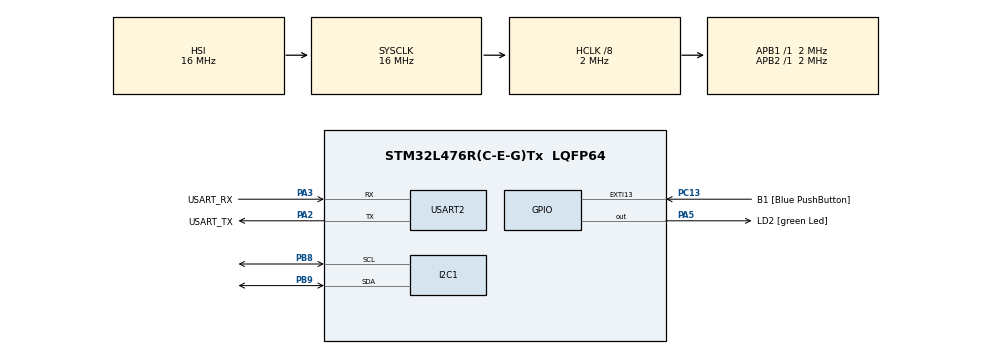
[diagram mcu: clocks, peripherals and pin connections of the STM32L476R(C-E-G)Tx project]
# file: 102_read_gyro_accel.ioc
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I2C1.Timing=0x00000508
Mcu.Family=STM32L4
Mcu.Name=STM32L476R(C-E-G)Tx
Mcu.Package=LQFP64
NVIC.I2C1_ER_IRQn=true\:0\:0\:false\:true\:true\:4\:true\:true\:true
NVIC.I2C1_EV_IRQn=true\:0\:0\:false\:true\:true\:5\:true\:true\:true
NVIC.PriorityGroup=NVIC_PRIORITYGROUP_4
NVIC.TIM6_DAC_IRQn=true\:0\:0\:false\:true\:true\:2\:true\:true\:true
NVIC.TIM7_IRQn=true\:0\:0\:false\:true\:true\:1\:true\:true\:true
NVIC.USART2_IRQn=true\:0\:0\:false\:true\:true\:3\:true\:true\:true
PA13\ (JTMS-SWDIO).GPIO_Label=TMS
PA13\ (JTMS-SWDIO).Mode=Serial_Wire
PA13\ (JTMS-SWDIO).Signal=SYS_JTMS-SWDIO
PA14\ (JTCK-SWCLK).GPIO_Label=TCK
PA14\ (JTCK-SWCLK).Mode=Serial_Wire
PA14\ (JTCK-SWCLK).Signal=SYS_JTCK-SWCLK
PA2.GPIO_Label=USART_TX
PA2.GPIO_Mode=GPIO_MODE_AF_PP
PA2.GPIO_PuPd=GPIO_NOPULL
PA2.GPIO_Speed=GPIO_SPEED_FREQ_VERY_HIGH
PA2.Mode=Asynchronous
PA2.Signal=USART2_TX
PA3.GPIO_Label=USART_RX
PA3.GPIO_Mode=GPIO_MODE_AF_PP
PA3.GPIO_PuPd=GPIO_NOPULL
PA3.GPIO_Speed=GPIO_SPEED_FREQ_VERY_HIGH
PA3.Mode=Asynchronous
PA3.Signal=USART2_RX
PA5.GPIO_Label=LD2 [green Led]
PA5.GPIO_ModeDefaultOutputPP=GPIO_MODE_OUTPUT_PP
PA5.GPIO_PuPd=GPIO_NOPULL
PA5.GPIO_Speed=GPIO_SPEED_FREQ_LOW
PA5.Signal=GPIO_Output
PB3\ (JTDO-TRACESWO).GPIO_Label=SWO
PB3\ (JTDO-TRACESWO).Signal=SYS_JTDO-SWO
PB8.Mode=I2C
PB8.Signal=I2C1_SCL
PB9.Mode=I2C
PB9.Signal=I2C1_SDA
PC13.GPIO_Label=B1 [Blue PushButton]
PC13.GPIO_ModeDefaultEXTI=GPIO_MODE_IT_FALLING
PC13.GPIO_PuPd=GPIO_NOPULL
PC13.Signal=GPXTI13
PC14-OSC32_IN\ (PC14).Mode=LSE-External-Oscillator
PC14-OSC32_IN\ (PC14).Signal=RCC_OSC32_IN
PC15-OSC32_OUT\ (PC15).Mode=LSE-External-Oscillator
PC15-OSC32_OUT\ (PC15).Signal=RCC_OSC32_OUT
PH0-OSC_IN\ (PH0).Signal=RCC_OSC_IN
PH1-OSC_OUT\ (PH1).Signal=RCC_OSC_OUT
ProjectManager.HeapSize=0x200
ProjectManager.StackSize=0x400
ProjectManager.TargetToolchain=STM32CubeIDE
RCC.ADCFreq_Value=64000000
RCC.AHBCLKDivider=RCC_SYSCLK_DIV8
RCC.AHBFreq_Value=2000000
RCC.APB1Freq_Value=2000000
RCC.APB1TimFreq_Value=2000000
RCC.APB2Freq_Value=2000000
RCC.APB2TimFreq_Value=2000000
RCC.CortexFreq_Value=2000000
RCC.HCLKFreq_Value=2000000
RCC.HSE_VALUE=8000000
RCC.HSI_VALUE=16000000
RCC.MSI_VALUE=4000000
RCC.PLLN=10
RCC.PLLSourceVirtual=RCC_PLLSOURCE_HSI
RCC.PREFETCH_ENABLE=1
RCC.SYSCLKFreq_VALUE=16000000
RCC.SYSCLKSource=RCC_SYSCLKSOURCE_HSI
RCC.USBFreq_Value=64000000
RCC.VCOOutputFreq_Value=160000000
TIM6.Period=1000-1
TIM6.Prescaler=100-1
TIM7.Period=2000-1
TIM7.Prescaler=100-1
USART2.VirtualMode-Asynchronous=VM_ASYNC
VP_TIM6_VS_ClockSourceINT.Mode=Enable_Timer
VP_TIM7_VS_ClockSourceINT.Mode=Enable_Timer
board=NUCLEO-L476RG

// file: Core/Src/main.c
/* USER CODE BEGIN Header */
/**
  ******************************************************************************
  * @file           : main.c
  * @brief          : Main program body
  ******************************************************************************
  * @attention
  *
  * Copyright (c) 2025 STMicroelectronics.
  * All rights reserved.
  *
  * This software is licensed under terms that can be found in the LICENSE file
  * in the root directory of this software component.
  * If no LICENSE file comes with this software, it is provided AS-IS.
  *
  ******************************************************************************
  */
/* USER CODE END Header */
#include "main.h"

/* USER CODE BEGIN Includes */
#include <stdio.h>
#include <math.h>
/* USER CODE END Includes */

/* USER CODE BEGIN PD */
#define MPU6050_ADDR 0xD0 // MPU6050 I2C 8-bit address (AD0 pin connected to GND)
#define WHO_AM_I_REG 0x75  // WHO_AM_I register address
#define PWR_MGMT_1    0x6B // Power Management 1 register
#define ACCEL_CONFIG  0x1C // Accelerometer Configuration register
#define GYRO_CONFIG	  0x1B // Gyroscope Configuration register
#define SMPLRT_DIV    0x19 // Sample Rate Divider register
#define CONFIG        0x1A // Configuration register
#define ACCEL_XOUT_H  0x3B  // Accelerometer X-axis data high byte address
#define GYRO_XOUT_H   0x43  // Gyroscope X-axis data high byte address
/* USER CODE END PD */

I2C_HandleTypeDef hi2c1;

TIM_HandleTypeDef htim6;
TIM_HandleTypeDef htim7;

UART_HandleTypeDef huart2;

/* USER CODE BEGIN PV */
char f_imu_read = 0; // Flag to indicate when to read IMU data
char f_uart_send = 0; // Flag to indicate when to send data over UART
uint8_t who_am_i = 0; // Stores the WHO_AM_I register value
int16_t ax, ay, az; // Accelerometer raw data
int16_t gx, gy, gz; // Gyroscope raw data
int16_t pitch, roll, yaw; // Orientation angles (scaled)

// complementary filter variables
float pitch_f = 0.0, roll_f = 0.0, yaw_f = 0.0; // Filtered orientation angles (float)
float alpha = 0.98; // Complementary filter alpha value
float dt = 0.01; // Time step
/* USER CODE END PV */

void SystemClock_Config(void);
static void MX_GPIO_Init(void);
static void MX_USART2_UART_Init(void);
static void MX_I2C1_Init(void);
static void MX_TIM6_Init(void);
static void MX_TIM7_Init(void);
static void MX_NVIC_Init(void);
/* USER CODE BEGIN PFP */
uint8_t Read_MPU6050_ID(); // Reads MPU6050's WHO_AM_I register
void MPU6050_Write(uint8_t reg, uint8_t data); // Writes a single byte to an MPU6050 register
void MPU6050_Read(uint8_t reg, uint8_t* data, uint8_t length); // Reads multiple bytes from an MPU6050 register
void MPU6050_Init(void); // Initializes the MPU6050 sensor
void MPU6050_ReadAccel(int16_t* ax, int16_t* ay, int16_t* az); // Reads accelerometer data
void MPU6050_ReadGyro(int16_t* gx, int16_t* gy, int16_t* gz); // Reads gyroscope data
void Send_IMU_Data(int16_t* ax, int16_t* ay, int16_t* az, int16_t* gx, int16_t* gy, int16_t* gz, int16_t* pitch, int16_t* roll, int16_t* yaw); // Sends all IMU data via UART
void Compute_Orientation(); // Computes pitch, roll, and yaw using a complementary filter

/* USER CODE END PFP */

/* USER CODE BEGIN 0 */
int _write(int file, char *ptr, int len) {
    HAL_UART_Transmit(&huart2, (uint8_t*) ptr, len, HAL_MAX_DELAY);
    return len;
}
/* USER CODE END 0 */

int main(void)
{

  /* MCU Configuration--------------------------------------------------------*/

  /* Reset of all peripherals, Initializes the Flash interface and the Systick. */
  HAL_Init();

  /* Configure the system clock */
  SystemClock_Config();

  /* Initialize all configured peripherals */
  MX_GPIO_Init();
  MX_USART2_UART_Init();
  MX_I2C1_Init();
  MX_TIM6_Init();
  MX_TIM7_Init();

  /* Initialize interrupts */
  MX_NVIC_Init();
  /* USER CODE BEGIN 2 */
  // Starts the timers in interrupt mode
  HAL_TIM_Base_Start_IT(&htim6);
  HAL_TIM_Base_Start_IT(&htim7);
  // Initializes the MPU6050 sensor
  MPU6050_Init();

  /* USER CODE END 2 */

  /* Infinite loop */
  /* USER CODE BEGIN WHILE */
  while (1)
  {
	  // Checks for IMU read flag set by TIM2 interrupt
	  if(f_imu_read == 1){
		   MPU6050_ReadAccel(&ax, &ay, &az); // Read accelerometer data
		   MPU6050_ReadGyro(&gx, &gy, &gz);   // Read gyroscope data
		   Compute_Orientation();            // Calculate orientation
		   f_imu_read = 0; // Reset flag
	  }
	  // Checks for UART send flag set by TIM3 interrupt
	  if(f_uart_send == 1){
		  printf("Accel X: %d Y: %d Z: %d Gyro: X: %d, Y: %d, Z: %d \r\n", ax, ay, az, gx, gy, gz);
		  //Send_IMU_Data(&ax, &ay, &az, &gx, &gy, &gz, &pitch, &roll, &yaw);
		  f_uart_send = 0; // Reset flag
	  }
    /* USER CODE END WHILE */

  }
}

void SystemClock_Config(void)
{
  RCC_OscInitTypeDef RCC_OscInitStruct = {0};
  RCC_ClkInitTypeDef RCC_ClkInitStruct = {0};

  /** Configure the main internal regulator output voltage
  */
  if (HAL_PWREx_ControlVoltageScaling(PWR_REGULATOR_VOLTAGE_SCALE1) != HAL_OK)
  {
    Error_Handler();
  }

  /** Initializes the RCC Oscillators according to the specified parameters
  * in the RCC_OscInitTypeDef structure.
  */
  RCC_OscInitStruct.OscillatorType = RCC_OSCILLATORTYPE_HSI;
  RCC_OscInitStruct.HSIState = RCC_HSI_ON;
  RCC_OscInitStruct.HSICalibrationValue = RCC_HSICALIBRATION_DEFAULT;
  RCC_OscInitStruct.PLL.PLLState = RCC_PLL_NONE;
  if (HAL_RCC_OscConfig(&RCC_OscInitStruct) != HAL_OK)
  {
    Error_Handler();
  }

  /** Initializes the CPU, AHB and APB buses clocks
  */
  RCC_ClkInitStruct.ClockType = RCC_CLOCKTYPE_HCLK|RCC_CLOCKTYPE_SYSCLK
                              |RCC_CLOCKTYPE_PCLK1|RCC_CLOCKTYPE_PCLK2;
  RCC_ClkInitStruct.SYSCLKSource = RCC_SYSCLKSOURCE_HSI;
  RCC_ClkInitStruct.AHBCLKDivider = RCC_SYSCLK_DIV8;
  RCC_ClkInitStruct.APB1CLKDivider = RCC_HCLK_DIV1;
  RCC_ClkInitStruct.APB2CLKDivider = RCC_HCLK_DIV1;

  if (HAL_RCC_ClockConfig(&RCC_ClkInitStruct, FLASH_LATENCY_0) != HAL_OK)
  {
    Error_Handler();
  }
}

/**
  * @brief NVIC Configuration.
  * @retval None
  */
static void MX_NVIC_Init(void)
{
  /* TIM7_IRQn interrupt configuration */
  HAL_NVIC_SetPriority(TIM7_IRQn, 0, 0);
  HAL_NVIC_EnableIRQ(TIM7_IRQn);
  /* TIM6_DAC_IRQn interrupt configuration */
  HAL_NVIC_SetPriority(TIM6_DAC_IRQn, 0, 0);
  HAL_NVIC_EnableIRQ(TIM6_DAC_IRQn);
  /* USART2_IRQn interrupt configuration */
  HAL_NVIC_SetPriority(USART2_IRQn, 0, 0);
  HAL_NVIC_EnableIRQ(USART2_IRQn);
  /* I2C1_ER_IRQn interrupt configuration */
  HAL_NVIC_SetPriority(I2C1_ER_IRQn, 0, 0);
  HAL_NVIC_EnableIRQ(I2C1_ER_IRQn);
  /* I2C1_EV_IRQn interrupt configuration */
  HAL_NVIC_SetPriority(I2C1_EV_IRQn, 0, 0);
  HAL_NVIC_EnableIRQ(I2C1_EV_IRQn);
}

static void MX_I2C1_Init(void)
{

  hi2c1.Instance = I2C1;
  hi2c1.Init.Timing = 0x00000508;
  hi2c1.Init.OwnAddress1 = 0;
  hi2c1.Init.AddressingMode = I2C_ADDRESSINGMODE_7BIT;
  hi2c1.Init.DualAddressMode = I2C_DUALADDRESS_DISABLE;
  hi2c1.Init.OwnAddress2 = 0;
  hi2c1.Init.OwnAddress2Masks = I2C_OA2_NOMASK;
  hi2c1.Init.GeneralCallMode = I2C_GENERALCALL_DISABLE;
  hi2c1.Init.NoStretchMode = I2C_NOSTRETCH_DISABLE;
  if (HAL_I2C_Init(&hi2c1) != HAL_OK)
  {
    Error_Handler();
  }

  /** Configure Analogue filter
  */
  if (HAL_I2CEx_ConfigAnalogFilter(&hi2c1, I2C_ANALOGFILTER_ENABLE) != HAL_OK)
  {
    Error_Handler();
  }

  /** Configure Digital filter
  */
  if (HAL_I2CEx_ConfigDigitalFilter(&hi2c1, 0) != HAL_OK)
  {
    Error_Handler();
  }

}

static void MX_TIM6_Init(void)
{

  TIM_MasterConfigTypeDef sMasterConfig = {0};

  htim6.Instance = TIM6;
  htim6.Init.Prescaler = 100-1;
  htim6.Init.CounterMode = TIM_COUNTERMODE_UP;
  htim6.Init.Period = 1000-1;
  htim6.Init.AutoReloadPreload = TIM_AUTORELOAD_PRELOAD_DISABLE;
  if (HAL_TIM_Base_Init(&htim6) != HAL_OK)
  {
    Error_Handler();
  }
  sMasterConfig.MasterOutputTrigger = TIM_TRGO_RESET;
  sMasterConfig.MasterSlaveMode = TIM_MASTERSLAVEMODE_DISABLE;
  if (HAL_TIMEx_MasterConfigSynchronization(&htim6, &sMasterConfig) != HAL_OK)
  {
    Error_Handler();
  }

}

static void MX_TIM7_Init(void)
{

  TIM_MasterConfigTypeDef sMasterConfig = {0};

  htim7.Instance = TIM7;
  htim7.Init.Prescaler = 100-1;
  htim7.Init.CounterMode = TIM_COUNTERMODE_UP;
  htim7.Init.Period = 2000-1;
  htim7.Init.AutoReloadPreload = TIM_AUTORELOAD_PRELOAD_DISABLE;
  if (HAL_TIM_Base_Init(&htim7) != HAL_OK)
  {
    Error_Handler();
  }
  sMasterConfig.MasterOutputTrigger = TIM_TRGO_RESET;
  sMasterConfig.MasterSlaveMode = TIM_MASTERSLAVEMODE_DISABLE;
  if (HAL_TIMEx_MasterConfigSynchronization(&htim7, &sMasterConfig) != HAL_OK)
  {
    Error_Handler();
  }

}

static void MX_USART2_UART_Init(void)
{

  huart2.Instance = USART2;
  huart2.Init.BaudRate = 115200;
  huart2.Init.WordLength = UART_WORDLENGTH_8B;
  huart2.Init.StopBits = UART_STOPBITS_1;
  huart2.Init.Parity = UART_PARITY_NONE;
  huart2.Init.Mode = UART_MODE_TX_RX;
  huart2.Init.HwFlowCtl = UART_HWCONTROL_NONE;
  huart2.Init.OverSampling = UART_OVERSAMPLING_16;
  huart2.Init.OneBitSampling = UART_ONE_BIT_SAMPLE_DISABLE;
  huart2.AdvancedInit.AdvFeatureInit = UART_ADVFEATURE_NO_INIT;
  if (HAL_UART_Init(&huart2) != HAL_OK)
  {
    Error_Handler();
  }

}

static void MX_GPIO_Init(void)
{
  GPIO_InitTypeDef GPIO_InitStruct = {0};

  /* GPIO Ports Clock Enable */
  __HAL_RCC_GPIOC_CLK_ENABLE();
  __HAL_RCC_GPIOH_CLK_ENABLE();
  __HAL_RCC_GPIOA_CLK_ENABLE();
  __HAL_RCC_GPIOB_CLK_ENABLE();

  /*Configure GPIO pin Output Level */
  HAL_GPIO_WritePin(LD2_GPIO_Port, LD2_Pin, GPIO_PIN_RESET);

  /*Configure GPIO pin : B1_Pin */
  GPIO_InitStruct.Pin = B1_Pin;
  GPIO_InitStruct.Mode = GPIO_MODE_IT_FALLING;
  GPIO_InitStruct.Pull = GPIO_NOPULL;
  HAL_GPIO_Init(B1_GPIO_Port, &GPIO_InitStruct);

  /*Configure GPIO pin : LD2_Pin */
  GPIO_InitStruct.Pin = LD2_Pin;
  GPIO_InitStruct.Mode = GPIO_MODE_OUTPUT_PP;
  GPIO_InitStruct.Pull = GPIO_NOPULL;
  GPIO_InitStruct.Speed = GPIO_SPEED_FREQ_LOW;
  HAL_GPIO_Init(LD2_GPIO_Port, &GPIO_InitStruct);

}

/* USER CODE BEGIN 4 */
// Callback function for TIM2 and TIM3 interrupts
void HAL_TIM_PeriodElapsedCallback(TIM_HandleTypeDef *htim) {
    if (htim->Instance == TIM6) { // 10ms interrupt for IMU data reading
    	HAL_GPIO_TogglePin(GPIOA, GPIO_PIN_5);
        f_imu_read = 1;
    }else if(htim->Instance == TIM7){ // 100ms interrupt for UART data sending
    	//HAL_GPIO_TogglePin(GPIOD, GPIO_PIN_12); // Toggle onboard LED
    	f_uart_send = 1;
    }
}

// Reads the MPU6050 WHO_AM_I register value
uint8_t Read_MPU6050_ID() {
	int uga = 0; // Unused variable, can be removed
	// Read a single byte from the WHO_AM_I register
	who_am_i =  HAL_I2C_Mem_Read(&hi2c1, MPU6050_ADDR, WHO_AM_I_REG, I2C_MEMADD_SIZE_8BIT, &who_am_i, 1, 100);
	return uga; // Returns an unused variable
}

// Writes a single byte of data to an MPU6050 register
void MPU6050_Write(uint8_t reg, uint8_t data) {
    uint8_t buffer[2] = {reg, data}; // Buffer containing register address and data
    if(HAL_I2C_Master_Transmit(&hi2c1, MPU6050_ADDR, buffer, 2, 100) != HAL_OK){
    	printf("I2C error\n");
    }
}

// Reads multiple bytes from a specified MPU6050 register
void MPU6050_Read(uint8_t reg, uint8_t* data, uint8_t length) {
    // Transmits the register address to start reading from
	HAL_StatusTypeDef status;

	    // 1. 레지스터 주소 전송
	    status = HAL_I2C_Master_Transmit(&hi2c1, MPU6050_ADDR, &reg, 1, 100);
	    if (status != HAL_OK) {
	        // 전송 에러 종류 확인
	        switch (status) {
	            case HAL_ERROR:
	                printf("I2C Transmit Error: HAL_ERROR\r\n");
	                break;
	            case HAL_BUSY:
	                printf("I2C Transmit Error: HAL_BUSY\r\n");
	                break;
	            case HAL_TIMEOUT:
	                printf("I2C Transmit Error: HAL_TIMEOUT\r\n");
	                break;
	            default:
	                printf("I2C Transmit Error: Unknown\r\n");
	                break;
	        }
	        return; // 에러 발생 시 함수 종료
	    }

	    // 2. 데이터 수신
	    status = HAL_I2C_Master_Receive(&hi2c1, MPU6050_ADDR, data, length, 100);
	    if (status != HAL_OK) {
	        // 수신 에러 종류 확인
	        switch (status) {
	            case HAL_ERROR:
	                printf("I2C Receive Error: HAL_ERROR\r\n");
	                break;
	            case HAL_BUSY:
	                printf("I2C Receive Error: HAL_BUSY\r\n");
	                break;
	            case HAL_TIMEOUT:
	                printf("I2C Receive Error: HAL_TIMEOUT\r\n");
	                break;
	            default:
	                printf("I2C Receive Error: Unknown\r\n");
	                break;
	        }
	        return; // 에러 발생 시 함수 종료
	    }
}

// Initializes the MPU6050 sensor with a few key settings
void MPU6050_Init(void) {
    // 1. Wake up the sensor (Power Management 1)
    MPU6050_Write(PWR_MGMT_1, 0x00);
    HAL_Delay(100);

    // 2. Set accelerometer range to ±2g
    MPU6050_Write(ACCEL_CONFIG, 0x00);
    HAL_Delay(10);

    // 2. Set gyroscope range to ±250°/s
    //MPU6050_Write(0x1B, 0x00);
    //HAL_Delay(10);

    // 3. Set sample rate to 125Hz (1kHz / (1+7))
    MPU6050_Write(SMPLRT_DIV, 0x07);
    HAL_Delay(10);

    // 4. Set Digital Low-Pass Filter (DLPF) to 44Hz
    MPU6050_Write(CONFIG, 0x03);
    HAL_Delay(10);
}

// Reads and combines high and low bytes of accelerometer data
void MPU6050_ReadAccel(int16_t* ax, int16_t* ay, int16_t* az) {
    uint8_t buffer[6];  // Buffer for 6 bytes of accelerometer data (X, Y, Z)

    MPU6050_Read(ACCEL_XOUT_H, buffer, 6);

    *ax = (int16_t)(buffer[0] << 8 | buffer[1]);  // Combine X high and low bytes
    *ay = (int16_t)(buffer[2] << 8 | buffer[3]);  // Combine Y high and low bytes
    *az = (int16_t)(buffer[4] << 8 | buffer[5]);  // Combine Z high and low bytes
}

// Reads and combines high and low bytes of gyroscope data
void MPU6050_ReadGyro(int16_t* gx, int16_t* gy, int16_t* gz) {
    uint8_t buffer[6];  // Buffer for 6 bytes of gyroscope data (X, Y, Z)

    MPU6050_Read(GYRO_XOUT_H, buffer, 6);

    *gx = (int16_t)(buffer[0] << 8 | buffer[1]);  // Combine X high and low bytes
    *gy = (int16_t)(buffer[2] << 8 | buffer[3]);  // Combine Y high and low bytes
    *gz = (int16_t)(buffer[4] << 8 | buffer[5]);  // Combine Z high and low bytes
}

// Packages all IMU data into a buffer and sends it via UART
void Send_IMU_Data(int16_t* ax, int16_t* ay, int16_t* az, int16_t* gx, int16_t* gy, int16_t* gz, int16_t* pitch, int16_t* roll, int16_t* yaw) {

    uint8_t tx_buffer[18];

    // Converts 16-bit integer data into a byte array for transmission (Little Endian)
    tx_buffer[0] = *ax & 0xFF;
    tx_buffer[1] = (*ax >> 8) & 0xFF;
    tx_buffer[2] = *ay & 0xFF;
    tx_buffer[3] = (*ay >> 8) & 0xFF;
    tx_buffer[4] = *az & 0xFF;
    tx_buffer[5] = (*az >> 8) & 0xFF;
    tx_buffer[6] = *gx & 0xFF;
    tx_buffer[7] = (*gx >> 8) & 0xFF;
    tx_buffer[8] = *gy & 0xFF;
    tx_buffer[9] = (*gy >> 8) & 0xFF;
    tx_buffer[10] = *gz & 0xFF;
    tx_buffer[11] = (*gz >> 8) & 0xFF;
    tx_buffer[12] = *pitch & 0xFF;
    tx_buffer[13] = (*pitch >> 8) & 0xFF;
    tx_buffer[14] = *roll & 0xFF;
    tx_buffer[15] = (*roll >> 8) & 0xFF;
    tx_buffer[16] = *yaw & 0xFF;
    tx_buffer[17] = (*yaw >> 8) & 0xFF;

    // Transmits the data buffer over UART
    HAL_UART_Transmit(&huart2, tx_buffer, 18, 100);
}

// Computes orientation angles using a complementary filter
void Compute_Orientation() {
    // Calculate pitch and roll from accelerometer data
    float acc_pitch = atan2(-ax, sqrt(ay * ay + az * az)) * 57.2958; // Convert radians to degrees
    float acc_roll  = atan2(ay, az) * 57.2958;

    // Convert gyroscope raw data to degrees per second
    float gx_dps = gx / 131.0;
    float gy_dps = gy / 131.0;
    float gz_dps = gz / 131.0;

    // Apply the complementary filter to combine accelerometer and gyroscope data
    pitch_f = alpha * (pitch_f + gy_dps * dt) + (1 - alpha) * acc_pitch;
    roll_f = alpha * (roll_f + gx_dps * dt) + (1 - alpha) * acc_roll;
    yaw_f += gz_dps * dt; // Yaw is only integrated from gyroscope

    // Convert float angles to integer angles for storage
    pitch = (int16_t)(pitch_f * 100);
    roll = (int16_t)(roll_f * 100);
    yaw = (int16_t)(yaw_f * 100);
}
/* USER CODE END 4 */

void Error_Handler(void)
{
  __disable_irq();
  while (1)
  {
  }
}
